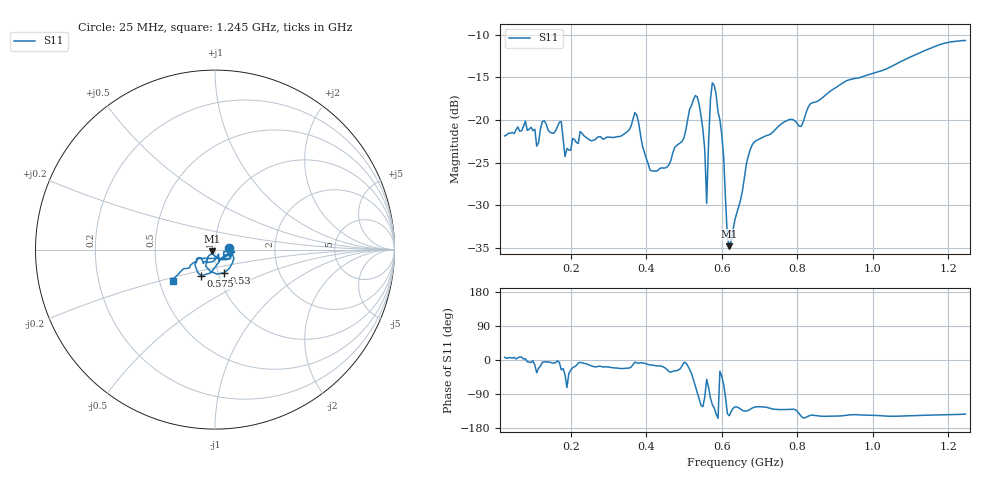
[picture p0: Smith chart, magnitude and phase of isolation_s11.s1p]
!Created with skrf (http://scikit-rf.org).
# Hz S RI R 50.0
!freq ReS11 ImS11
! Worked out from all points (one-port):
!   245 points, 25 MHz to 1.245 GHz, reference 50 ohm
!   lowest |S11| = -34.8 dB at 620 MHz (marker M1), VSWR 1.04, Z = 48.5 - j0.956 ohm
!   |S11| at or under -10 dB: start of sweep to end of sweep
!   S11 on the Smith chart (normalised r, x): 25 MHz: 1.17, +0.02; 530 MHz: 1.07, -0.28; 575 MHz: 0.82, -0.25; 1.245 GHz: 0.59, -0.23
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2.5e7  0.08 0.00981
8e7  0.0984 0.00624
1.1e8  0.0584 -0.039
1.25e8  0.0974 -0.0106
1.75e8  0.0881 -0.0428
1.8e8  0.071 -0.0299
1.85e8  0.0474 -0.0383
2.25e8  0.085 -0.00972
3.3e8  0.0739 -0.0305
3.7e8  0.1099 -0.011
4.15e8  0.0489 -0.0115
4.85e8  0.0645 -0.0323
5.3e8  0.0503 -0.1297
5.5e8  -0.0481 -0.0734
5.6e8  0.0204 -0.0252
5.7e8  -0.0235 -0.1294
5.75e8  -0.0771 -0.1461
5.9e8  -0.1003 -0.0488
5.95e8  0.0872 -0.0496
6e8  0.0597 -0.0563
6.15e8  -0.0159 -0.0124
6.2e8  -0.0152 -0.00986
6.35e8  -0.0145 -0.0216
6.8e8  -0.043 -0.0566
7.9e8  -0.0643 -0.0768
9.4e8  -0.1411 -0.0997
1.095e9  -0.1944 -0.1266
1.245e9  -0.2335 -0.1772
